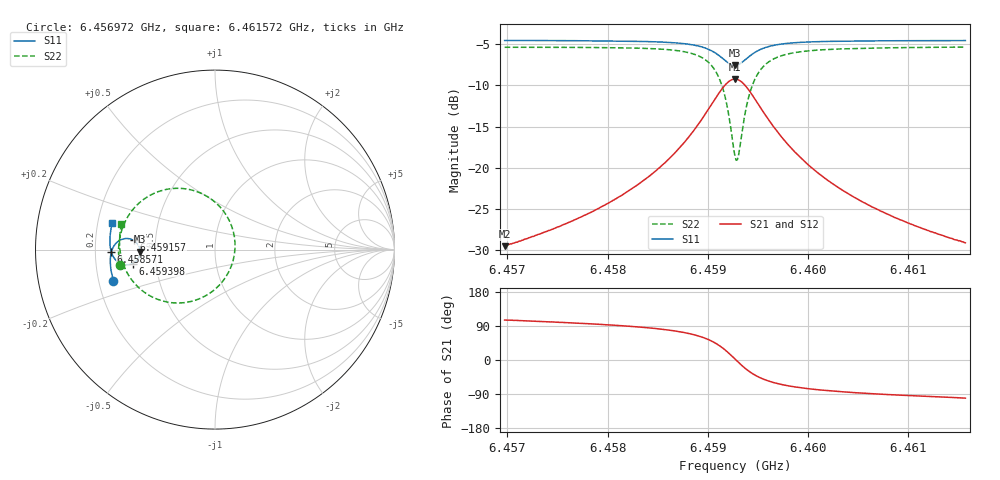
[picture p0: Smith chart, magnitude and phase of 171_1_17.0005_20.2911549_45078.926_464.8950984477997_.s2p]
#  HZ  S  RI  R  50.00
! Rohde & Schwarz Vector Network Analyzer
! Rohde-Schwarz,ZNB20-2Port,1311601062101988,3.16
! Created: UTC 3/20/2024, 10:59:45 PM
! freq[Hz]  re:S11  im:S11  re:S21  im:S21  re:S12  im:S12  re:S22  im:S22
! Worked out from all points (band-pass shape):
!   401 points, 6.456972 GHz to 6.461572 GHz, reference 50 ohm
!   highest |S21| = -9.23 dB at 6.459272 GHz (marker M1); lowest = -29.5 dB at 6.456972 GHz (marker M2)
!   |S21| within 3 dB of the highest: 6.459042 GHz to 6.459502 GHz (460.4 kHz wide, 0.00713 % of centre)
!   lowest |S11| = -7.6 dB at 6.459272 GHz (marker M3), VSWR 2.43, Z = 20.5 - j0.583 ohm
!   |S11| at or under -10 dB: nowhere
!   |S22| runs from -19.1 to -5.4 dB; largest |S21 - S12| = 0.013
!   S11 on the Smith chart (normalised r, x): 6.456972 GHz: 0.26, -0.14; 6.458571 GHz: 0.27, -0.01; 6.459157 GHz: 0.37, +0.05; 6.459398 GHz: 0.37, -0.07; 6.461572 GHz: 0.26, +0.12
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6.4569722e9  -0.5662 -0.1738  -0.00889 0.0324  -0.00735 0.0324  -0.5314 -0.087
6.4577426e9  -0.5803 -0.1065  -0.00576 0.0503  -0.00326 0.0498  -0.5372 0.00294
6.4581681e9  -0.5834 -0.0639  0.000131 0.07  0.00326 0.0686  -0.5293 0.0703
6.458513e9  -0.5796 -0.0226  0.0137 0.0988  0.0179 0.0961  -0.5044 0.1482
6.4585705e9  -0.5779 -0.0147  0.0181 0.1056  0.0223 0.1026  -0.4964 0.1648
6.4587775e9  -0.5649 0.0176  0.0455 0.1382  0.0496 0.1334  -0.445 0.2376
6.458927e9  -0.5423 0.0438  0.0906 0.169  0.0941 0.1623  -0.3618 0.3025
6.459065e9  -0.4983 0.0615  0.1779 0.1857  0.1791 0.1784  -0.2026 0.3415
6.459157e9  -0.4536 0.0514  0.268 0.1547  0.2683 0.1488  -0.0362 0.2917
6.4592259e9  -0.4244 0.0193  0.3286 0.083  0.3308 0.0777  0.0793 0.1627
6.4592719e9  -0.4174 -0.0117  0.3452 0.0151  0.3488 0.00806  0.1116 0.036
6.4592834e9  -0.4178 -0.0198  0.3451 -0.00251  0.3489 -0.0103  0.1113 0.00245
6.4593064e9  -0.4214 -0.0355  0.3396 -0.0373  0.3434 -0.0464  0.1004 -0.0633
6.4593524e9  -0.4369 -0.0616  0.3112 -0.0972  0.3133 -0.1091  0.043 -0.1763
6.4593984e9  -0.4591 -0.078  0.2692 -0.1384  0.2684 -0.1516  -0.0415 -0.2509
6.4594904e9  -0.5024 -0.0849  0.1847 -0.1698  0.1786 -0.1812  -0.2099 -0.2974
6.4596399e9  -0.5463 -0.0646  0.0967 -0.1562  0.0884 -0.1624  -0.377 -0.2486
6.4598124e9  -0.5691 -0.0349  0.0497 -0.1267  0.0422 -0.1294  -0.4613 -0.1726
6.4600424e9  -0.5809 -0.0014  0.0226 -0.0971  0.0168 -0.0977  -0.5058 -0.095
6.4603643e9  -0.5855 0.037  0.00716 -0.0717  0.00303 -0.0713  -0.5269 -0.0206
6.4608128e9  -0.5837 0.0823  -0.00117 -0.0519  -0.00398 -0.051  -0.5319 0.0518
6.4615717e9  -0.572 0.1496  -0.00648 -0.0346  -0.0081 -0.0336  -0.521 0.1416
